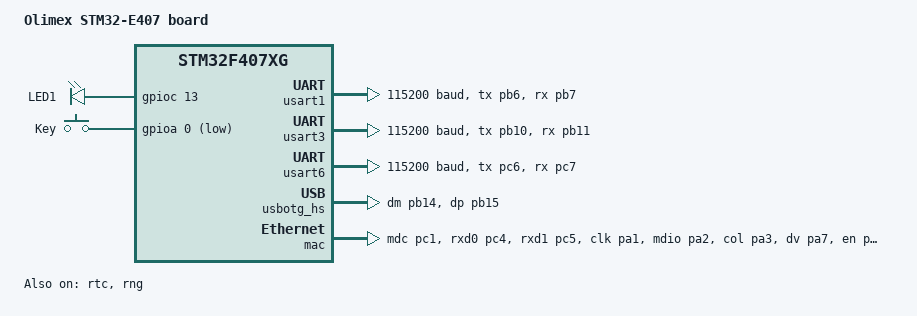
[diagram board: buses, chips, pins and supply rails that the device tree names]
/*
 * Copyright (c) 2017, Erwin Rol <erwin@erwinrol.com>
 *
 * SPDX-License-Identifier: Apache-2.0
 */

/dts-v1/;
#include <st/f4/stm32f407Xg.dtsi>
#include <st/f4/stm32f407z(e-g)tx-pinctrl.dtsi>

/ {
	model = "Olimex STM32-E407 board";
	compatible = "olimex,stm32-e407";

	chosen {
		zephyr,console = &usart1;
		zephyr,shell-uart = &usart1;
		zephyr,sram = &sram0;
		zephyr,flash = &flash0;
		zephyr,ccm = &ccm0;
	};

	leds {
		compatible = "gpio-leds";
		green_led_1: led_1 {
			gpios = <&gpioc 13 GPIO_ACTIVE_HIGH>;
			label = "LED1";
		};
	};

	gpio_keys {
		compatible = "gpio-keys";
		user_button: button {
			label = "Key";
			gpios = <&gpioa 0 GPIO_ACTIVE_LOW>;
		};
	};

	aliases {
		led0 = &green_led_1;
		sw0 = &user_button;
	};
};

&usart1 {
	pinctrl-0 = <&usart1_tx_pb6 &usart1_rx_pb7>;
	current-speed = <115200>;
	status = "okay";
};

&usart3 {
	pinctrl-0 = <&usart3_tx_pb10 &usart3_rx_pb11>;
	current-speed = <115200>;
	status = "okay";
};

&usart6 {
	pinctrl-0 = <&usart6_tx_pc6 &usart6_rx_pc7>;
	current-speed = <115200>;
	status = "okay";
};

&rtc {
	status = "okay";
};

&rng {
	status = "okay";
};

/* Only one interface should be enabled at a time: usbotg_fs or usbotg_hs */
usb_otg1: &usbotg_fs {
	pinctrl-0 = <&usb_otg_fs_dm_pa11 &usb_otg_fs_dp_pa12>;
	status = "disabled";
};

usb_otg2: &usbotg_hs {
	pinctrl-0 = <&usb_otg_hs_dm_pb14 &usb_otg_hs_dp_pb15>;
	status = "okay";
};

&mac {
	status = "okay";
	pinctrl-0 = <&eth_mdc_pc1
		     &eth_rxd0_pc4
		     &eth_rxd1_pc5
		     &eth_ref_clk_pa1
		     &eth_mdio_pa2
		     &eth_col_pa3
		     &eth_crs_dv_pa7
		     &eth_tx_en_pg11
		     &eth_txd0_pg13
		     &eth_txd1_pg14>;
};
